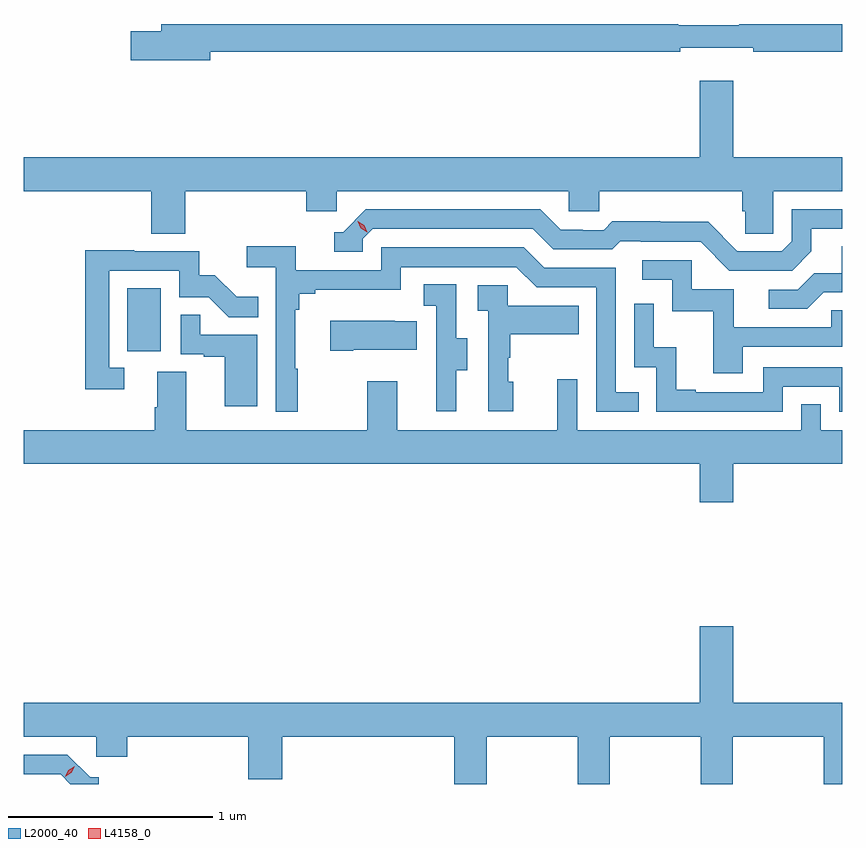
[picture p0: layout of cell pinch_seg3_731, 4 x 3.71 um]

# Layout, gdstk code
import gdstk
lib = gdstk.Library(unit=1e-6, precision=1e-09)
def R(c, l, rs):  # rectangles x0, y0, x1, y1
    for r in rs: c.add(gdstk.rectangle(r[:2], r[2:], *l))
def P(c, l, *ps):  # polygons
    for p in ps: c.add(gdstk.Polygon(p, *l))
L2000_40 = (2000, 40)
L4158_0 = (4158, 0)

pinch_seg3_731 = lib.new_cell('pinch_seg3_731')
R(pinch_seg3_731, L2000_40, [(857.516,745.422,857.68,745.729)])
P(pinch_seg3_731, L2000_40, [(857.92,746.884),(860.216,746.884),(860.216,746.903),(860.572,746.903),(860.572,746.884),(861.009,746.884),(861.009,747.02),(860.506,747.02),(860.506,747.013),(860.206,747.013),(860.206,747.02),(857.681,747.02),(857.681,746.984),(857.532,746.984),(857.532,746.842),(857.92,746.842)],
  [(857.798,746.204),(858.389,746.204),(858.389,746.106),(858.54,746.106),(858.54,746.204),(859.671,746.204),(859.671,746.106),(859.821,746.106),(859.821,746.204),(860.519,746.204),(860.519,746.106),(860.533,746.106),(860.533,745.996),(860.67,745.996),(860.67,746.204),(861.009,746.204),(861.009,746.368),(860.476,746.368),(860.476,746.743),(860.312,746.743),(860.312,746.368),(857.009,746.368),(857.009,746.204),(857.633,746.204),(857.633,745.996),(857.798,745.996)],
  [(860.857,745.909),(860.857,746.019),(861.009,746.019),(861.009,746.115),(860.76,746.115),(860.76,745.959),(860.712,745.911),(860.496,745.911),(860.354,746.053),(860.118,746.053),(860.118,746.056),(859.885,746.056),(859.843,746.013),(859.74,746.013),(859.74,746.016),(859.633,746.016),(859.534,746.115),(858.681,746.115),(858.57,746.004),(858.527,746.004),(858.527,745.908),(858.666,745.908),(858.666,745.971),(858.714,746.019),(859.497,746.019),(859.596,745.92),(859.885,745.92),(859.924,745.959),(860.023,745.959),(860.023,745.956),(860.316,745.956),(860.457,745.815),(860.763,745.815)],
  [(858.349,745.337),(858.337,745.337),(858.337,745.625),(858.356,745.625),(858.356,745.702),(858.433,745.702),(858.433,745.721),(858.852,745.721),(858.852,745.833),(859.416,745.833),(859.515,745.734),(859.806,745.734),(859.806,745.125),(860.015,745.125),(860.015,745.221),(859.902,745.221),(859.902,745.83),(859.552,745.83),(859.453,745.929),(858.756,745.929),(858.756,745.818),(858.338,745.818),(858.338,745.934),(858.099,745.934),(858.099,745.832),(858.24,745.832),(858.24,745.125),(858.349,745.125)],
  [(860.917,745.71),(861.009,745.71),(861.009,745.934),(861.005,745.934),(861.005,745.802),(860.87,745.802),(860.79,745.722),(860.649,745.722),(860.649,745.629),(860.836,745.629)],
  [(857.5,745.341),(857.427,745.341),(857.427,745.815),(857.769,745.815),(857.769,745.686),(857.913,745.686),(858.011,745.588),(858.155,745.588),(858.155,745.687),(858.051,745.687),(857.944,745.794),(857.868,745.794),(857.868,745.911),(857.549,745.911),(857.549,745.916),(857.311,745.916),(857.311,745.236),(857.5,745.236)],
  [(860.521,745.443),(861.009,745.443),(861.009,745.623),(860.953,745.623),(860.953,745.539),(860.479,745.539),(860.479,745.725),(860.274,745.725),(860.274,745.866),(860.031,745.866),(860.031,745.77),(860.178,745.77),(860.178,745.617),(860.377,745.617),(860.377,745.314),(860.521,745.314)],
  [(859.123,745.33),(859.177,745.33),(859.177,745.485),(859.122,745.485),(859.122,745.748),(858.963,745.748),(858.963,745.645),(859.026,745.645),(859.026,745.341),(859.025,745.341),(859.025,745.128),(859.123,745.128)],
  [(859.402,745.272),(859.377,745.272),(859.377,745.391),(859.387,745.391),(859.387,745.505),(859.721,745.505),(859.721,745.645),(859.374,745.645),(859.374,745.743),(859.227,745.743),(859.227,745.619),(859.278,745.619),(859.278,745.128),(859.402,745.128)],
  [(860.718,745.248),(860.994,745.248),(860.994,745.125),(861.009,745.125),(861.009,745.344),(860.622,745.344),(860.622,745.221),(860.293,745.221),(860.293,745.234),(860.198,745.234),(860.198,745.442),(860.088,745.442),(860.088,745.654),(859.992,745.654),(859.992,745.344),(860.1,745.344),(860.1,745.125),(860.718,745.125)],
  [(858.151,745.503),(857.873,745.503),(857.873,745.601),(857.778,745.601),(857.778,745.407),(857.889,745.407),(857.889,745.395),(857.993,745.395),(857.993,745.152),(858.151,745.152)],
  [(858.619,745.43),(858.929,745.43),(858.929,745.567),(858.821,745.567),(858.821,745.57),(858.507,745.57),(858.507,745.423),(858.619,745.423)],
  [(860.476,744.872),(861.009,744.872),(861.009,745.036),(860.904,745.036),(860.904,745.163),(860.808,745.163),(860.808,745.036),(859.713,745.036),(859.713,745.285),(859.616,745.285),(859.616,745.036),(858.835,745.036),(858.835,745.276),(858.688,745.276),(858.688,745.036),(857.803,745.036),(857.803,745.322),(857.663,745.322),(857.663,745.148),(857.651,745.148),(857.651,745.036),(857.009,745.036),(857.009,744.872),(860.312,744.872),(860.312,744.684),(860.476,744.684)],
  [(859.272,743.54),(859.717,743.54),(859.717,743.308),(859.872,743.308),(859.872,743.54),(860.317,743.54),(860.317,743.308),(860.472,743.308),(860.472,743.54),(860.917,743.54),(860.917,743.308),(861.009,743.308),(861.009,743.704),(860.476,743.704),(860.476,744.079),(860.312,744.079),(860.312,743.704),(857.009,743.704),(857.009,743.54),(857.364,743.54),(857.364,743.442),(857.516,743.442),(857.516,743.54),(858.107,743.54),(858.107,743.332),(858.272,743.332),(858.272,743.54),(859.112,743.54),(859.112,743.308),(859.272,743.308)],
  [(857.377,743.34),(857.334,743.34),(857.223,743.451),(857.009,743.451),(857.009,743.355),(857.19,743.355),(857.237,743.308),(857.377,743.308)])
P(pinch_seg3_731, L4158_0, [(858.688,746.003),(858.657,746.023),(858.641,746.056),(858.641,746.056),(858.641,746.056),(858.672,746.036),(858.688,746.003),(858.688,746.003)],
  [(857.212,743.343),(857.212,743.343),(857.228,743.375),(857.259,743.395),(857.259,743.395),(857.259,743.395),(857.243,743.362),(857.212,743.343)])

lib.write_gds('pinch_seg3_731.gds')
